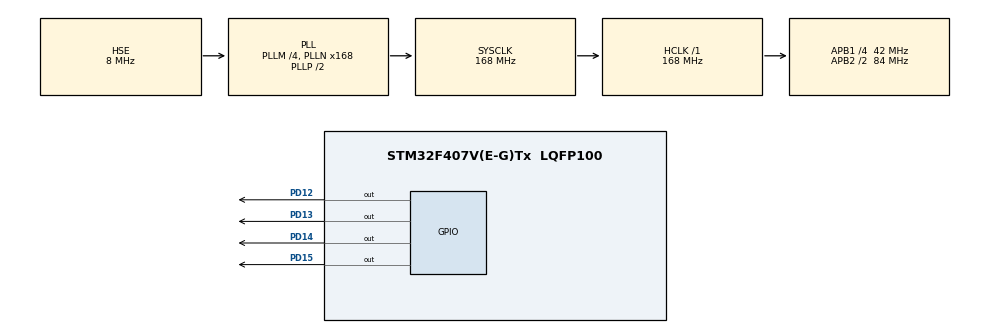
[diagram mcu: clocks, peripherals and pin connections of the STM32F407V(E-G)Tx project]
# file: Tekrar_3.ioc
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Mcu.Family=STM32F4
Mcu.Name=STM32F407V(E-G)Tx
Mcu.Package=LQFP100
NVIC.PriorityGroup=NVIC_PRIORITYGROUP_4
PD12.GPIO_Speed=GPIO_SPEED_FREQ_VERY_HIGH
PD12.Signal=GPIO_Output
PD13.GPIO_Speed=GPIO_SPEED_FREQ_VERY_HIGH
PD13.Signal=GPIO_Output
PD14.GPIO_Speed=GPIO_SPEED_FREQ_VERY_HIGH
PD14.Signal=GPIO_Output
PD15.GPIO_Speed=GPIO_SPEED_FREQ_VERY_HIGH
PD15.Signal=GPIO_Output
PH0-OSC_IN.Mode=HSE-External-Oscillator
PH0-OSC_IN.Signal=RCC_OSC_IN
PH1-OSC_OUT.Mode=HSE-External-Oscillator
PH1-OSC_OUT.Signal=RCC_OSC_OUT
ProjectManager.HeapSize=0x200
ProjectManager.StackSize=0x400
ProjectManager.TargetToolchain=STM32CubeIDE
RCC.48MHZClocksFreq_Value=84000000
RCC.AHBFreq_Value=168000000
RCC.APB1CLKDivider=RCC_HCLK_DIV4
RCC.APB1Freq_Value=42000000
RCC.APB1TimFreq_Value=84000000
RCC.APB2CLKDivider=RCC_HCLK_DIV2
RCC.APB2Freq_Value=84000000
RCC.APB2TimFreq_Value=168000000
RCC.CortexFreq_Value=168000000
RCC.HCLKFreq_Value=168000000
RCC.HSE_VALUE=8000000
RCC.HSI_VALUE=16000000
RCC.LSE_VALUE=32768
RCC.PLLM=4
RCC.PLLN=168
RCC.PLLSourceVirtual=RCC_PLLSOURCE_HSE
RCC.SYSCLKFreq_VALUE=168000000
RCC.SYSCLKSource=RCC_SYSCLKSOURCE_PLLCLK
RCC.VCOOutputFreq_Value=336000000
board=custom

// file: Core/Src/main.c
/* USER CODE BEGIN Header */
/**
  ******************************************************************************
  * @file           : main.c
  * @brief          : Main program body
  ******************************************************************************
  * @attention
  *
  * Copyright (c) 2023 STMicroelectronics.
  * All rights reserved.
  *
  * This software is licensed under terms that can be found in the LICENSE file
  * in the root directory of this software component.
  * If no LICENSE file comes with this software, it is provided AS-IS.
  *
  ******************************************************************************
  */
/* USER CODE END Header */
#include "main.h"
#define LED_COUNT 4

void SystemClock_Config(void);
static void MX_GPIO_Init(void);

int main(void)
{
  /* USER CODE BEGIN 1 */

     int led_state=0;  // karasimsek if uygulaması icin lazım, lazım olunca ac, birkac uygulamayı beraber yaptıgım icin uyarı veriyor değiskeni kullanmayınca

//	 uint16_t ledPins[LED_COUNT] = {GPIO_PIN_12, GPIO_PIN_13, GPIO_PIN_14, GPIO_PIN_15};

//     int currentLed = 0;

  /* USER CODE END 1 */

  /* MCU Configuration--------------------------------------------------------*/

  /* Reset of all peripherals, Initializes the Flash interface and the Systick. */
  HAL_Init();

  /* Configure the system clock */
  SystemClock_Config();

  /* Initialize all configured peripherals */
  MX_GPIO_Init();

  /* Infinite loop */
  while (1)
  {

    /* USER CODE BEGIN 3 */

	  //LEDLERİN HEPSİNİ SÜREKLİ YAKMAK//
	//  HAL_GPIO_WritePin(GPIOD, GPIO_PIN_12 | GPIO_PIN_13 | GPIO_PIN_14 | GPIO_PIN_15 , GPIO_PIN_SET);

	  //LEDLERİ YAKIP SÖNDÜRMEK
	  /*
	  HAL_GPIO_WritePin(GPIOD,GPIO_PIN_12 | GPIO_PIN_13 | GPIO_PIN_14 | GPIO_PIN_15 , GPIO_PIN_SET);
	  HAL_Delay(2000);  //delay fonksiyonu hal kütüphanesinde zaten var, main dısında tanımlamaya gerek yok
	  HAL_GPIO_WritePin(GPIOD,GPIO_PIN_12 | GPIO_PIN_13 | GPIO_PIN_14 | GPIO_PIN_15 , GPIO_PIN_RESET);
	  HAL_Delay(2000);
	  */

	  //LEDLERİ YAKIP SÖNDÜRMEK toggle ile //toggle ilk durumu tersler, yani led sönükse yakar
	  //pinleri ilk configuration kısmında low (sönük) olarak seçmiştik
	  /*
	  HAL_GPIO_TogglePin(GPIOD, GPIO_PIN_12 | GPIO_PIN_13 | GPIO_PIN_14 | GPIO_PIN_15); //led yanacak
	  HAL_Delay(3000); //3000ms=3s bekle
	  HAL_GPIO_TogglePin(GPIOD, GPIO_PIN_12 | GPIO_PIN_13 | GPIO_PIN_14 | GPIO_PIN_15); //led sönecek
	  HAL_Delay(5000); //5000ms=5s bekle
	  */

	  //led karaşimşek uygulaması 12 13 14 15.ledler sırayla yanacak 15.ledden sonra tekrar 14 13 12
/*
	  HAL_GPIO_WritePin(GPIOD, GPIO_PIN_12, GPIO_PIN_SET);
	  HAL_Delay(100);
	  HAL_GPIO_WritePin(GPIOD, GPIO_PIN_12, GPIO_PIN_RESET);
	  HAL_Delay(100);
	  HAL_GPIO_WritePin(GPIOD, GPIO_PIN_13, GPIO_PIN_SET);
	  HAL_Delay(100);
	  HAL_GPIO_WritePin(GPIOD, GPIO_PIN_13, GPIO_PIN_RESET);
	  HAL_Delay(100);
	  HAL_GPIO_WritePin(GPIOD, GPIO_PIN_14, GPIO_PIN_SET);
	  HAL_Delay(100);
	  HAL_GPIO_WritePin(GPIOD, GPIO_PIN_14, GPIO_PIN_RESET);
	  HAL_Delay(100);
	  HAL_GPIO_WritePin(GPIOD, GPIO_PIN_15, GPIO_PIN_SET);
	  HAL_Delay(100);
	  HAL_GPIO_WritePin(GPIOD, GPIO_PIN_15, GPIO_PIN_RESET);
	  HAL_Delay(100);
	  HAL_GPIO_WritePin(GPIOD, GPIO_PIN_14, GPIO_PIN_SET);
	  HAL_Delay(100);
	  HAL_GPIO_WritePin(GPIOD, GPIO_PIN_14, GPIO_PIN_RESET);
	  HAL_Delay(100);
	  HAL_GPIO_WritePin(GPIOD, GPIO_PIN_13, GPIO_PIN_SET);
	  HAL_Delay(100);
	  HAL_GPIO_WritePin(GPIOD, GPIO_PIN_13, GPIO_PIN_RESET);
	  HAL_Delay(100);

*/

	  //if ile 12-13-14-15-12-13-14-15  //12 yi yakınca digerlerinin hepsini reset yapmaya gerek yok. zaten configurationda low yaptık

	  if(led_state == 0)
	  {
		  HAL_GPIO_WritePin(GPIOD, GPIO_PIN_15, GPIO_PIN_RESET);
		  HAL_GPIO_WritePin(GPIOD, GPIO_PIN_12, GPIO_PIN_SET);

	  }
	  if(led_state == 1)
	  {
		HAL_GPIO_WritePin(GPIOD, GPIO_PIN_12, GPIO_PIN_RESET);
		HAL_GPIO_WritePin(GPIOD, GPIO_PIN_13, GPIO_PIN_SET);
	  }
	  if(led_state == 2)
	  {

		  HAL_GPIO_WritePin(GPIOD, GPIO_PIN_13, GPIO_PIN_RESET);
		  HAL_GPIO_WritePin(GPIOD, GPIO_PIN_14, GPIO_PIN_SET);

	  }
	  if(led_state == 3)
	  {
		  HAL_GPIO_WritePin(GPIOD, GPIO_PIN_14, GPIO_PIN_RESET);
		  HAL_GPIO_WritePin(GPIOD, GPIO_PIN_15, GPIO_PIN_SET);
	  }

	  HAL_Delay(1000);
	  led_state++;
	  if(led_state>3)
	  {
		  led_state=0;
	  }

/*
	 //switch case ile 12 13 14 15 - 12 13 14 15 led yakma uygulaması
	     // Mevcut LED'i yak
	     switch (currentLed)  //yukarıda tanımlamasını yaptım
	     {
	       case 0:
	         HAL_GPIO_WritePin(GPIOD, ledPins[0], GPIO_PIN_SET);
	      //   HAL_GPIO_WritePin(GPIOD, ledPins[1], GPIO_PIN_RESET);  //config kısmında low olarak ayarladıgım icin burada tekrar yazmasam da olur
	      //   HAL_GPIO_WritePin(GPIOD, ledPins[2], GPIO_PIN_RESET);
	         HAL_GPIO_WritePin(GPIOD, ledPins[3], GPIO_PIN_RESET);    //case3 ten sonra case1 e gelince 15.ledi söndürmen lazım
	         break; //break , case 0 dan sonra cıkmaya yarıyordu
	       case 1:
	         HAL_GPIO_WritePin(GPIOD, ledPins[0], GPIO_PIN_RESET);
	         HAL_GPIO_WritePin(GPIOD, ledPins[1], GPIO_PIN_SET);
	    //    HAL_GPIO_WritePin(GPIOD, ledPins[2], GPIO_PIN_RESET);
	   //      HAL_GPIO_WritePin(GPIOD, ledPins[3], GPIO_PIN_RESET);
	         break;
	       case 2:
	     //    HAL_GPIO_WritePin(GPIOD, ledPins[0], GPIO_PIN_RESET);
	         HAL_GPIO_WritePin(GPIOD, ledPins[1], GPIO_PIN_RESET);
	         HAL_GPIO_WritePin(GPIOD, ledPins[2], GPIO_PIN_SET);
	      //   HAL_GPIO_WritePin(GPIOD, ledPins[3], GPIO_PIN_RESET);
	         break;
	       case 3:
	       //  HAL_GPIO_WritePin(GPIOD, ledPins[0], GPIO_PIN_RESET);
	      //   HAL_GPIO_WritePin(GPIOD, ledPins[1], GPIO_PIN_RESET);
	         HAL_GPIO_WritePin(GPIOD, ledPins[2], GPIO_PIN_RESET);
	         HAL_GPIO_WritePin(GPIOD, ledPins[3], GPIO_PIN_SET);
	         break;
	     }
	     HAL_Delay(1000);
	     // Bir sonraki LED'e geçmek için
	     currentLed = (currentLed + 1) % LED_COUNT ;    // (0+1)%4=1  (1+1)%4=2 ... (3+1)%4=0  //led_count 4 olarak define etmistim

*/

  }

  /* USER CODE END 3 */
}

void SystemClock_Config(void)
{
  RCC_OscInitTypeDef RCC_OscInitStruct = {0};
  RCC_ClkInitTypeDef RCC_ClkInitStruct = {0};

  /** Configure the main internal regulator output voltage
  */
  __HAL_RCC_PWR_CLK_ENABLE();
  __HAL_PWR_VOLTAGESCALING_CONFIG(PWR_REGULATOR_VOLTAGE_SCALE1);

  /** Initializes the RCC Oscillators according to the specified parameters
  * in the RCC_OscInitTypeDef structure.
  */
  RCC_OscInitStruct.OscillatorType = RCC_OSCILLATORTYPE_HSE;
  RCC_OscInitStruct.HSEState = RCC_HSE_ON;
  RCC_OscInitStruct.PLL.PLLState = RCC_PLL_ON;
  RCC_OscInitStruct.PLL.PLLSource = RCC_PLLSOURCE_HSE;
  RCC_OscInitStruct.PLL.PLLM = 4;
  RCC_OscInitStruct.PLL.PLLN = 168;
  RCC_OscInitStruct.PLL.PLLP = RCC_PLLP_DIV2;
  RCC_OscInitStruct.PLL.PLLQ = 4;
  if (HAL_RCC_OscConfig(&RCC_OscInitStruct) != HAL_OK)
  {
    Error_Handler();
  }

  /** Initializes the CPU, AHB and APB buses clocks
  */
  RCC_ClkInitStruct.ClockType = RCC_CLOCKTYPE_HCLK|RCC_CLOCKTYPE_SYSCLK
                              |RCC_CLOCKTYPE_PCLK1|RCC_CLOCKTYPE_PCLK2;
  RCC_ClkInitStruct.SYSCLKSource = RCC_SYSCLKSOURCE_PLLCLK;
  RCC_ClkInitStruct.AHBCLKDivider = RCC_SYSCLK_DIV1;
  RCC_ClkInitStruct.APB1CLKDivider = RCC_HCLK_DIV4;
  RCC_ClkInitStruct.APB2CLKDivider = RCC_HCLK_DIV2;

  if (HAL_RCC_ClockConfig(&RCC_ClkInitStruct, FLASH_LATENCY_5) != HAL_OK)
  {
    Error_Handler();
  }
}

static void MX_GPIO_Init(void)
{
  GPIO_InitTypeDef GPIO_InitStruct = {0};

  /* GPIO Ports Clock Enable */
  __HAL_RCC_GPIOH_CLK_ENABLE();
  __HAL_RCC_GPIOD_CLK_ENABLE();

  /*Configure GPIO pin Output Level */
  HAL_GPIO_WritePin(GPIOD, GPIO_PIN_12|GPIO_PIN_13|GPIO_PIN_14|GPIO_PIN_15, GPIO_PIN_RESET);

  /*Configure GPIO pins : PD12 PD13 PD14 PD15 */
  GPIO_InitStruct.Pin = GPIO_PIN_12|GPIO_PIN_13|GPIO_PIN_14|GPIO_PIN_15;
  GPIO_InitStruct.Mode = GPIO_MODE_OUTPUT_PP;
  GPIO_InitStruct.Pull = GPIO_NOPULL;
  GPIO_InitStruct.Speed = GPIO_SPEED_FREQ_VERY_HIGH;
  HAL_GPIO_Init(GPIOD, &GPIO_InitStruct);

}

void Error_Handler(void)
{
  __disable_irq();
  while (1)
  {
  }
}
